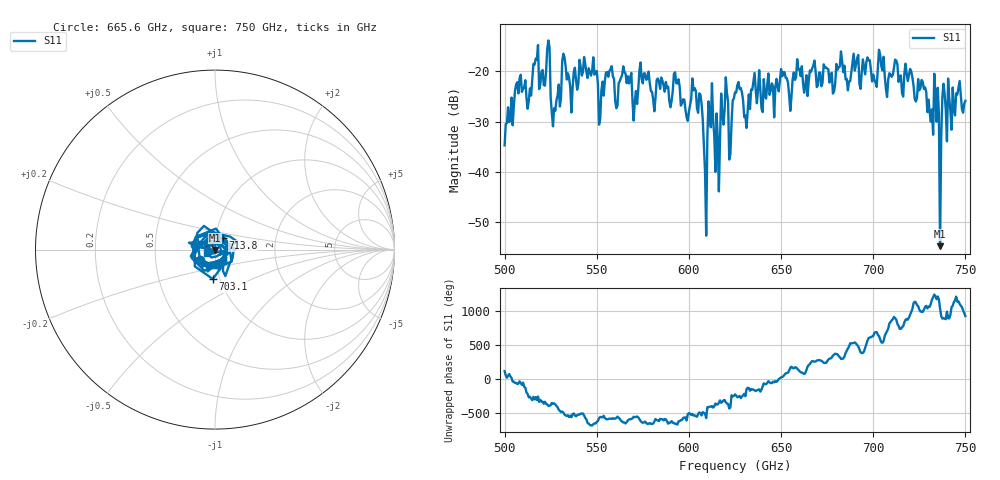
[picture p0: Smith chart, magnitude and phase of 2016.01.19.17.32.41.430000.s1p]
!Created with skrf (http://scikit-rf.org).
# GHz S RI R 50.0
!freq ReS11 ImS11
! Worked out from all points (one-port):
!   401 points, 500 GHz to 750 GHz, reference 50 ohm
!   lowest |S11| = -54.8 dB at 736.2 GHz (marker M1), VSWR 1.00, Z = 50.1 - j0.133 ohm
!   |S11| at or under -10 dB: start of sweep to end of sweep
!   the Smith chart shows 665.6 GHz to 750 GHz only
!   S11 on the Smith chart (normalised r, x): 665.6 GHz: 0.84, -0.10; 703.1 GHz: 0.93, -0.31; 713.8 GHz: 1.08, +0.14; 750 GHz: 0.91, -0.03
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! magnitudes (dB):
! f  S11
! 500 GHz  -34.7
! 507.5 GHz  -24.4
! 513.1 GHz  -25.8
! 516.9 GHz  -17.5
! 523.8 GHz  -13.8
! 526.2 GHz  -30.9
! 531.2 GHz  -18.0
! 562.5 GHz  -21.9
! 593.8 GHz  -22.4
! 606.2 GHz  -24.7
! 608.8 GHz  -40.0
! 611.9 GHz  -31.1
! 615.6 GHz  -33.2
! 618.8 GHz  -30.6
! 623.1 GHz  -30.3
! 625 GHz  -24.2
! 656.2 GHz  -21.7
! 665.6 GHz  -19.8
! 687.5 GHz  -22.0
! 703.1 GHz  -15.7
! 713.8 GHz  -22.1
! 718.8 GHz  -21.9
! 731.2 GHz  -30.0
! 734.4 GHz  -30.0
! 735 GHz  -23.3
! 736.2 GHz  -54.8
! 739.4 GHz  -27.7
! 750 GHz  -25.9
